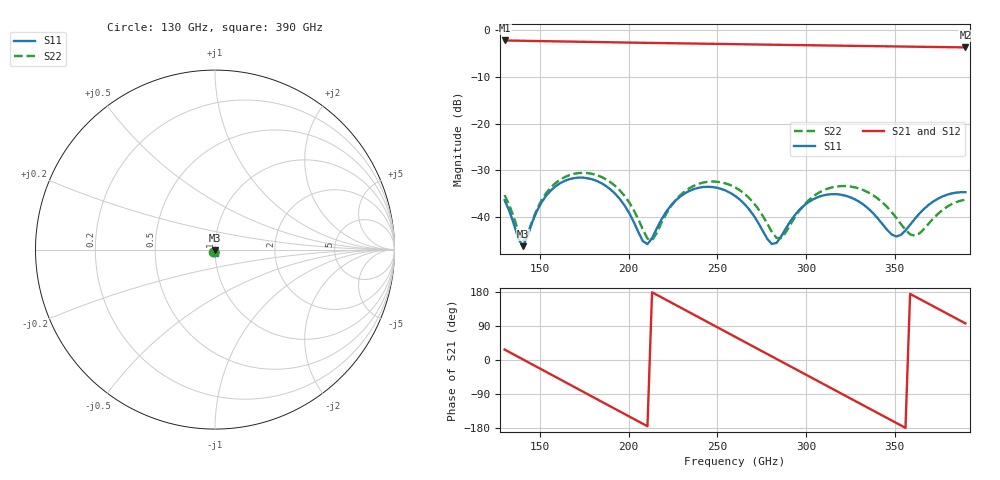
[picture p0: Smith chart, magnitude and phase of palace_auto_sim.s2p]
#  GHZ S DB R 50
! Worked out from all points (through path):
!   101 points, 130 GHz to 390 GHz, reference 50 ohm
!   highest |S21| = -2.18 dB at 130 GHz (marker M1); lowest = -3.7 dB at 390 GHz (marker M2)
!   group delay of S21, straight-line fit = 6.95 ps
!   lowest |S11| = -46.3 dB at 140.4 GHz (marker M3), VSWR 1.01, Z = 50.2 - j0.444 ohm
!   |S11| at or under -10 dB: start of sweep to end of sweep
!   |S22| runs from -45.2 to -30.5 dB; largest |S21 - S12| = 8.8e-14
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130  -36.42 -117.4  -2.18 27.6  -2.18 27.6  -35.31 -119.3
140.4  -46.25 -65.2  -2.25 1.4  -2.25 1.4  -45.21 -75.7
153.4  -35.46 -27.4  -2.33 -31.3  -2.33 -31.3  -34.91 -30.6
174.2  -31.58 -67.4  -2.47 -83.5  -2.47 -83.5  -30.54 -70.2
195  -36.14 -105.8  -2.60 -135.7  -2.60 -135.7  -34.30 -110.6
210.6  -45.81 -64.7  -2.69 -174.8  -2.69 -174.8  -44.63 -91.9
213.2  -44.55 -45.3  -2.71 178.7  -2.71 178.7  -44.99 -68.9
218.4  -40.60 -30.7  -2.74 165.6  -2.74 165.6  -41.36 -40.9
228.8  -35.70 -38.5  -2.80 139.6  -2.80 139.6  -35.44 -42.9
239.2  -33.76 -56.9  -2.85 113.5  -2.85 113.5  -32.93 -60.7
249.6  -33.72 -77.1  -2.91 87.5  -2.91 87.5  -32.43 -81.1
260  -35.47 -96.0  -2.97 61.4  -2.97 61.4  -33.64 -101.0
270.4  -39.61 -107.5  -3.03 35.4  -3.03 35.4  -36.94 -116.2
280.8  -45.79 -78.0  -3.09 9.4  -3.09 9.4  -43.20 -106.6
286  -44.20 -47.1  -3.12 -3.6  -3.12 -3.6  -44.54 -74.6
304.2  -36.19 -50.1  -3.22 -49.1  -3.22 -49.1  -35.57 -56.6
325  -35.77 -86.0  -3.33 -101.1  -3.33 -101.1  -33.47 -93.6
348.4  -43.75 -85.7  -3.45 -159.6  -3.45 -159.6  -38.94 -126.0
353.6  -43.84 -63.0  -3.48 -172.6  -3.48 -172.6  -41.49 -122.7
361.4  -40.43 -46.4  -3.52 168.0  -3.52 168.0  -44.01 -95.9
377  -35.62 -60.7  -3.60 129.1  -3.60 129.1  -38.53 -73.0
390  -34.70 -83.3  -3.67 96.6  -3.67 96.6  -36.29 -90.3
